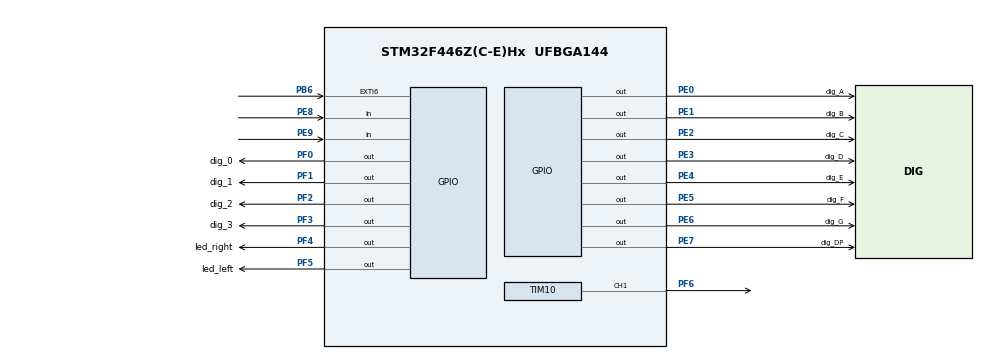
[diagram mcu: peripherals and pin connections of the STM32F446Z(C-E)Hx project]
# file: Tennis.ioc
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Mcu.Family=STM32F4
Mcu.Name=STM32F446Z(C-E)Hx
Mcu.Package=UFBGA144
NVIC.EXTI9_5_IRQn=true\:0\:0\:false\:false\:true\:true\:true
NVIC.PriorityGroup=NVIC_PRIORITYGROUP_4
PB6.Signal=GPXTI6
PE0.GPIO_Label=dig_A
PE0.GPIO_Speed=GPIO_SPEED_FREQ_VERY_HIGH
PE0.PinState=GPIO_PIN_RESET
PE0.Signal=GPIO_Output
PE1.GPIO_Label=dig_B
PE1.GPIO_Speed=GPIO_SPEED_FREQ_VERY_HIGH
PE1.Signal=GPIO_Output
PE2.GPIO_Label=dig_C
PE2.GPIO_Speed=GPIO_SPEED_FREQ_VERY_HIGH
PE2.Signal=GPIO_Output
PE3.GPIO_Label=dig_D
PE3.GPIO_Speed=GPIO_SPEED_FREQ_VERY_HIGH
PE3.Signal=GPIO_Output
PE4.GPIO_Label=dig_E
PE4.GPIO_Speed=GPIO_SPEED_FREQ_VERY_HIGH
PE4.Signal=GPIO_Output
PE5.GPIO_Label=dig_F
PE5.GPIO_Speed=GPIO_SPEED_FREQ_VERY_HIGH
PE5.Signal=GPIO_Output
PE6.GPIO_Label=dig_G
PE6.GPIO_Speed=GPIO_SPEED_FREQ_VERY_HIGH
PE6.Signal=GPIO_Output
PE7.GPIO_Label=dig_DP
PE7.GPIO_Speed=GPIO_SPEED_FREQ_VERY_HIGH
PE7.Signal=GPIO_Output
PE8.Signal=GPIO_Input
PE9.Signal=GPIO_Input
PF0.GPIO_Label=dig_0
PF0.GPIO_Speed=GPIO_SPEED_FREQ_VERY_HIGH
PF0.Signal=GPIO_Output
PF1.GPIO_Label=dig_1
PF1.GPIO_Speed=GPIO_SPEED_FREQ_VERY_HIGH
PF1.Signal=GPIO_Output
PF2.GPIO_Label=dig_2
PF2.GPIO_Speed=GPIO_SPEED_FREQ_VERY_HIGH
PF2.Signal=GPIO_Output
PF3.GPIO_Label=dig_3
PF3.GPIO_Speed=GPIO_SPEED_FREQ_VERY_HIGH
PF3.Signal=GPIO_Output
PF4.GPIO_Label=led_right
PF4.GPIO_Speed=GPIO_SPEED_FREQ_VERY_HIGH
PF4.Signal=GPIO_Output
PF5.GPIO_Label=led_left
PF5.GPIO_Speed=GPIO_SPEED_FREQ_VERY_HIGH
PF5.Signal=GPIO_Output
PF6.Signal=S_TIM10_CH1
PH0-OSC_IN.Mode=HSE-External-Oscillator
PH0-OSC_IN.Signal=RCC_OSC_IN
PH1-OSC_OUT.Mode=HSE-External-Oscillator
PH1-OSC_OUT.Signal=RCC_OSC_OUT
ProjectManager.HeapSize=0x200
ProjectManager.StackSize=0x400
ProjectManager.TargetToolchain=EWARM V8.32
RCC.CortexFreq_Value=16000000
RCC.USBFreq_Value=96000000
RCC.VCOOutputFreq_Value=192000000
SH.S_TIM10_CH1.0=TIM10_CH1,PWM Generation1 CH1
TIM1.Prescaler=15
TIM10.AutoReloadPreload=TIM_AUTORELOAD_PRELOAD_DISABLE
TIM10.Channel=TIM_CHANNEL_1
TIM10.OCMode_PWM=TIM_OCMODE_PWM2
TIM10.Period=199
TIM10.Prescaler=15999
TIM10.Pulse=99
VP_TIM10_VS_ClockSourceINT.Mode=Enable_Timer
VP_TIM10_VS_OPM.Mode=OPM_bit
VP_TIM1_VS_ClockSourceINT.Mode=Internal
board=custom

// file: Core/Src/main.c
/* USER CODE BEGIN Header */
/**
  ******************************************************************************
  * @file           : main.c
  * @brief          : Main program body
  ******************************************************************************
  * @attention
  *
  * <h2><center>&copy; Copyright (c) 2022 STMicroelectronics.
  * All rights reserved.</center></h2>
  *
  * This software component is licensed by ST under BSD 3-Clause license,
  * the "License"; You may not use this file except in compliance with the
  * License. You may obtain a copy of the License at:
  *                        opensource.org/licenses/BSD-3-Clause
  *
  ******************************************************************************
  */
/* USER CODE END Header */
#include "main.h"

/* USER CODE BEGIN PM */
#define dig_0_set()     HAL_GPIO_WritePin(GPIOF, dig_0_Pin, GPIO_PIN_SET)
#define dig_0_reset()   HAL_GPIO_WritePin(GPIOF, dig_0_Pin, GPIO_PIN_RESET)
#define dig_1_set()     HAL_GPIO_WritePin(GPIOF, dig_1_Pin, GPIO_PIN_SET)
#define dig_1_reset()   HAL_GPIO_WritePin(GPIOF, dig_1_Pin, GPIO_PIN_RESET)
#define dig_2_set()     HAL_GPIO_WritePin(GPIOF, dig_2_Pin, GPIO_PIN_SET)
#define dig_2_reset()   HAL_GPIO_WritePin(GPIOF, dig_2_Pin, GPIO_PIN_RESET)
#define dig_3_set()     HAL_GPIO_WritePin(GPIOF, dig_3_Pin, GPIO_PIN_SET)
#define dig_3_reset()   HAL_GPIO_WritePin(GPIOF, dig_3_Pin, GPIO_PIN_RESET)

/* USER CODE END PM */

TIM_HandleTypeDef htim1;
TIM_HandleTypeDef htim10;

/* USER CODE BEGIN PV */
uint8_t tablica[] = {0x3F, 0x06, 0x5B, 0x4F, 0x66, 0x6D, 0x7D, 0x07, 0x7F, 0x6F};
//uint8_t tablica[] = {0x79, 0x31, 0x3F, 0x73, 0x38, 0x3F, 0x76, 0x07, 0x7F, 0x00};
uint32_t counter = 10000;

uint32_t tempCode;
uint8_t bitIndex;
uint8_t cmd;
uint8_t cmdli;
uint32_t code;
uint8_t counter_for_led = 200;
volatile uint8_t tmp_for_right = 0;
volatile uint8_t tmp_for_left = 0;
/* USER CODE END PV */

void SystemClock_Config(void);
static void MX_GPIO_Init(void);
static void MX_TIM10_Init(void);
static void MX_TIM1_Init(void);

/* USER CODE BEGIN PFP */

void set_data(uint32_t);
/* USER CODE END PFP */

int main(void)
{

  /* MCU Configuration--------------------------------------------------------*/

  /* Reset of all peripherals, Initializes the Flash interface and the Systick. */
  HAL_Init();

  /* Configure the system clock */
  SystemClock_Config();

  /* Initialize all configured peripherals */
  MX_GPIO_Init();
  MX_TIM10_Init();
  MX_TIM1_Init();
  /* USER CODE BEGIN 2 */
      HAL_TIM_Base_Start(&htim1);
  __HAL_TIM_SET_COUNTER(&htim1, 0);

    uint8_t but1_short_state = 0;
    uint8_t but1_long_state = 0;
    uint32_t but1_time_key1 = 0;

    uint8_t but2_short_state = 0;
    uint8_t but2_long_state = 0;
    uint32_t but2_time_key1 = 0;

  /* USER CODE END 2 */

  /* Infinite loop */
  /* USER CODE BEGIN WHILE */
  while (1)
  {
    set_data(counter);
    uint32_t but1_ms = HAL_GetTick();
    uint8_t but1_key1_state = !HAL_GPIO_ReadPin(GPIOE, GPIO_PIN_8);
    if (but1_key1_state == 0 && !but1_short_state && (but1_ms - but1_time_key1) > 50)  //right data
    {
        but1_short_state = 1;
        but1_long_state = 0;
        but1_time_key1 = but1_ms;
    }
    else if(but1_key1_state == 0 && !but1_long_state && (but1_ms - but1_time_key1) > 2000)
    {
        but1_long_state = 1;
        if (counter == 10000)
        {
            counter = 0;
            HAL_GPIO_WritePin(GPIOF, led_right_Pin, GPIO_PIN_SET);              //enable RIGHT BIG RED LED
            HAL_GPIO_WritePin(GPIOF, led_left_Pin, GPIO_PIN_RESET);
            counter_for_led = 2;
         }
         if (counter >0)  //move count back
         {
            counter--;
            counter_for_led -=1;
         }
     }
     else if(but1_key1_state == 1 && but1_short_state && (but1_ms - but1_time_key1) > 50)
     {
        but1_short_state = 0;
        but1_time_key1 = but1_ms;
        if(!but1_long_state)
        {
            counter++;
            counter_for_led ++;
            HAL_TIM_PWM_Stop(&htim10, TIM_CHANNEL_1);
            HAL_TIM_PWM_Start(&htim10, TIM_CHANNEL_1);
        }
      }
    uint32_t but2_ms = HAL_GetTick();
    uint8_t but2_key1_state = !HAL_GPIO_ReadPin(GPIOE, GPIO_PIN_9);

    if(but2_key1_state == 0 && !but2_short_state && (but2_ms - but2_time_key1) > 50)  //left data
    {
        but2_short_state = 1;
        but2_long_state = 0;
        but2_time_key1 = but2_ms;
    }
    else if(but2_key1_state == 0 && !but2_long_state && (but2_ms - but2_time_key1) > 2000)
    {
        but2_long_state = 1;
        if (counter == 10000)
        {
          counter = 0;
            HAL_GPIO_WritePin(GPIOF, led_right_Pin, GPIO_PIN_RESET);
            HAL_GPIO_WritePin(GPIOF, led_left_Pin, GPIO_PIN_SET);   //enable LEFT BIG RED LED
            counter_for_led = 0;
        }
        if (counter >0) //move count back
        {
            counter-=100;
             counter_for_led -=1;
        }
    }
    else if(but2_key1_state == 1 && but2_short_state && (but2_ms - but2_time_key1) > 50)
    {
        but2_short_state = 0;
        but2_time_key1 = but2_ms;

        if(!but2_long_state)
        {   if (counter == 10000)
          counter = 0;
            counter+=100;
            counter_for_led ++;
            HAL_TIM_PWM_Stop(&htim10, TIM_CHANNEL_1);
            HAL_TIM_PWM_Start(&htim10, TIM_CHANNEL_1);

        }
    }
    if (counter_for_led < 199)
       {
            if (counter_for_led %4 ==0 || counter_for_led %4 == 1)
            {
                HAL_GPIO_WritePin(GPIOF, led_left_Pin, GPIO_PIN_SET);
                HAL_GPIO_WritePin(GPIOF, led_right_Pin, GPIO_PIN_RESET);
            }
            else
            {
                HAL_GPIO_WritePin(GPIOF, led_left_Pin, GPIO_PIN_RESET);
                HAL_GPIO_WritePin(GPIOF, led_right_Pin, GPIO_PIN_SET);
            }
        }

        /*
    for (volatile uint32_t i =0; i< 300; i++)
    {
      set_data(123);
    }
    for (volatile uint32_t k =0; k< 300; k++)
    {
      set_data(9456);
    }
    */

    /* USER CODE END WHILE */

  }
}

void SystemClock_Config(void)
{
  RCC_OscInitTypeDef RCC_OscInitStruct = {0};
  RCC_ClkInitTypeDef RCC_ClkInitStruct = {0};

  /** Configure the main internal regulator output voltage
  */
  __HAL_RCC_PWR_CLK_ENABLE();
  __HAL_PWR_VOLTAGESCALING_CONFIG(PWR_REGULATOR_VOLTAGE_SCALE3);
  /** Initializes the RCC Oscillators according to the specified parameters
  * in the RCC_OscInitTypeDef structure.
  */
  RCC_OscInitStruct.OscillatorType = RCC_OSCILLATORTYPE_HSI;
  RCC_OscInitStruct.HSIState = RCC_HSI_ON;
  RCC_OscInitStruct.HSICalibrationValue = RCC_HSICALIBRATION_DEFAULT;
  RCC_OscInitStruct.PLL.PLLState = RCC_PLL_NONE;
  if (HAL_RCC_OscConfig(&RCC_OscInitStruct) != HAL_OK)
  {
    Error_Handler();
  }
  /** Initializes the CPU, AHB and APB buses clocks
  */
  RCC_ClkInitStruct.ClockType = RCC_CLOCKTYPE_HCLK|RCC_CLOCKTYPE_SYSCLK
                              |RCC_CLOCKTYPE_PCLK1|RCC_CLOCKTYPE_PCLK2;
  RCC_ClkInitStruct.SYSCLKSource = RCC_SYSCLKSOURCE_HSI;
  RCC_ClkInitStruct.AHBCLKDivider = RCC_SYSCLK_DIV1;
  RCC_ClkInitStruct.APB1CLKDivider = RCC_HCLK_DIV1;
  RCC_ClkInitStruct.APB2CLKDivider = RCC_HCLK_DIV1;

  if (HAL_RCC_ClockConfig(&RCC_ClkInitStruct, FLASH_LATENCY_0) != HAL_OK)
  {
    Error_Handler();
  }
}

static void MX_TIM1_Init(void)
{

  TIM_ClockConfigTypeDef sClockSourceConfig = {0};
  TIM_MasterConfigTypeDef sMasterConfig = {0};

  htim1.Instance = TIM1;
  htim1.Init.Prescaler = 15;
  htim1.Init.CounterMode = TIM_COUNTERMODE_UP;
  htim1.Init.Period = 65535;
  htim1.Init.ClockDivision = TIM_CLOCKDIVISION_DIV1;
  htim1.Init.RepetitionCounter = 0;
  htim1.Init.AutoReloadPreload = TIM_AUTORELOAD_PRELOAD_DISABLE;
  if (HAL_TIM_Base_Init(&htim1) != HAL_OK)
  {
    Error_Handler();
  }
  sClockSourceConfig.ClockSource = TIM_CLOCKSOURCE_INTERNAL;
  if (HAL_TIM_ConfigClockSource(&htim1, &sClockSourceConfig) != HAL_OK)
  {
    Error_Handler();
  }
  sMasterConfig.MasterOutputTrigger = TIM_TRGO_RESET;
  sMasterConfig.MasterSlaveMode = TIM_MASTERSLAVEMODE_DISABLE;
  if (HAL_TIMEx_MasterConfigSynchronization(&htim1, &sMasterConfig) != HAL_OK)
  {
    Error_Handler();
  }

}

static void MX_TIM10_Init(void)
{

  TIM_OC_InitTypeDef sConfigOC = {0};

  htim10.Instance = TIM10;
  htim10.Init.Prescaler = 15999;
  htim10.Init.CounterMode = TIM_COUNTERMODE_UP;
  htim10.Init.Period = 199;
  htim10.Init.ClockDivision = TIM_CLOCKDIVISION_DIV1;
  htim10.Init.AutoReloadPreload = TIM_AUTORELOAD_PRELOAD_DISABLE;
  if (HAL_TIM_Base_Init(&htim10) != HAL_OK)
  {
    Error_Handler();
  }
  if (HAL_TIM_PWM_Init(&htim10) != HAL_OK)
  {
    Error_Handler();
  }
  if (HAL_TIM_OnePulse_Init(&htim10, TIM_OPMODE_SINGLE) != HAL_OK)
  {
    Error_Handler();
  }
  sConfigOC.OCMode = TIM_OCMODE_PWM2;
  sConfigOC.Pulse = 99;
  sConfigOC.OCPolarity = TIM_OCPOLARITY_HIGH;
  sConfigOC.OCFastMode = TIM_OCFAST_DISABLE;
  if (HAL_TIM_PWM_ConfigChannel(&htim10, &sConfigOC, TIM_CHANNEL_1) != HAL_OK)
  {
    Error_Handler();
  }
  HAL_TIM_MspPostInit(&htim10);

}

static void MX_GPIO_Init(void)
{
  GPIO_InitTypeDef GPIO_InitStruct = {0};

  /* GPIO Ports Clock Enable */
  __HAL_RCC_GPIOE_CLK_ENABLE();
  __HAL_RCC_GPIOF_CLK_ENABLE();
  __HAL_RCC_GPIOB_CLK_ENABLE();
  __HAL_RCC_GPIOH_CLK_ENABLE();

  /*Configure GPIO pin Output Level */
  HAL_GPIO_WritePin(GPIOE, dig_D_Pin|dig_C_Pin|dig_B_Pin|dig_A_Pin
                          |dig_E_Pin|dig_F_Pin|dig_G_Pin|dig_DP_Pin, GPIO_PIN_RESET);

  /*Configure GPIO pin Output Level */
  HAL_GPIO_WritePin(GPIOF, dig_0_Pin|dig_1_Pin|dig_2_Pin|dig_3_Pin
                          |led_right_Pin|led_left_Pin, GPIO_PIN_RESET);

  /*Configure GPIO pins : dig_D_Pin dig_C_Pin dig_B_Pin dig_A_Pin
                           dig_E_Pin dig_F_Pin dig_G_Pin dig_DP_Pin */
  GPIO_InitStruct.Pin = dig_D_Pin|dig_C_Pin|dig_B_Pin|dig_A_Pin
                          |dig_E_Pin|dig_F_Pin|dig_G_Pin|dig_DP_Pin;
  GPIO_InitStruct.Mode = GPIO_MODE_OUTPUT_PP;
  GPIO_InitStruct.Pull = GPIO_NOPULL;
  GPIO_InitStruct.Speed = GPIO_SPEED_FREQ_VERY_HIGH;
  HAL_GPIO_Init(GPIOE, &GPIO_InitStruct);

  /*Configure GPIO pins : dig_0_Pin dig_1_Pin dig_2_Pin dig_3_Pin
                           led_right_Pin led_left_Pin */
  GPIO_InitStruct.Pin = dig_0_Pin|dig_1_Pin|dig_2_Pin|dig_3_Pin
                          |led_right_Pin|led_left_Pin;
  GPIO_InitStruct.Mode = GPIO_MODE_OUTPUT_PP;
  GPIO_InitStruct.Pull = GPIO_NOPULL;
  GPIO_InitStruct.Speed = GPIO_SPEED_FREQ_VERY_HIGH;
  HAL_GPIO_Init(GPIOF, &GPIO_InitStruct);

  /*Configure GPIO pin : PB6 */
  GPIO_InitStruct.Pin = GPIO_PIN_6;
  GPIO_InitStruct.Mode = GPIO_MODE_IT_RISING;
  GPIO_InitStruct.Pull = GPIO_NOPULL;
  HAL_GPIO_Init(GPIOB, &GPIO_InitStruct);

  /*Configure GPIO pins : PE9 PE8 */
  GPIO_InitStruct.Pin = GPIO_PIN_9|GPIO_PIN_8;
  GPIO_InitStruct.Mode = GPIO_MODE_INPUT;
  GPIO_InitStruct.Pull = GPIO_NOPULL;
  HAL_GPIO_Init(GPIOE, &GPIO_InitStruct);

  /* EXTI interrupt init*/
  HAL_NVIC_SetPriority(EXTI9_5_IRQn, 0, 0);
  HAL_NVIC_EnableIRQ(EXTI9_5_IRQn);

}

/* USER CODE BEGIN 4 */
void set_data(uint32_t number)
{
  dig_0_reset();
  dig_1_reset();
  dig_2_reset();
  dig_3_reset();

  uint8_t first = number%10;
  number = number/10;
  uint8_t second = number%10;
  number = number/10;
  uint8_t third = number%10;
  number = number/10;
  uint8_t four = number%10;

  dig_3_set();
  GPIOE->ODR |=  tablica[first];
  HAL_Delay(1);
  GPIOE->ODR &= ~tablica[first];
  dig_3_reset();

  dig_2_set();
  GPIOE->ODR |=  tablica[second];
  HAL_Delay(1);
  GPIOE->ODR &= ~tablica[second];
  dig_2_reset();

  dig_1_set();
  GPIOE->ODR |=  tablica[third];
  HAL_Delay(1);
  GPIOE->ODR &= ~tablica[third];
  dig_1_reset();

  dig_0_set();
  GPIOE->ODR |=  tablica[four];
  HAL_Delay(1);
  GPIOE->ODR &= ~tablica[four];
  dig_0_reset();
}

void HAL_GPIO_EXTI_Callback(uint16_t GPIO_Pin)
{
  if(GPIO_Pin == GPIO_PIN_6)
  {
    if (__HAL_TIM_GET_COUNTER(&htim1) > 8000)
    {
      tempCode = 0;
      bitIndex = 0;
    }
    else if (__HAL_TIM_GET_COUNTER(&htim1) > 1700)
    {
      tempCode |= (1UL << (31-bitIndex));   // write 1
      bitIndex++;
    }
    else if (__HAL_TIM_GET_COUNTER(&htim1) > 1000)
    {
      tempCode &= ~(1UL << (31-bitIndex));  // write 0
      bitIndex++;
    }
    if(bitIndex == 32)
    {
      cmdli = ~tempCode; // Logical inverted last 8 bits
      cmd = tempCode >> 8; // Second last 8 bits
      if(cmdli == cmd) // Check for errors
      {
        code = tempCode; // If no bit errors
        // Do your main work HERE
      }

              switch (code)
        {
          case (0x906fa05f): //volume up
            tmp_for_left = 0;
            if(counter == 10000)
                {
                 HAL_GPIO_WritePin(GPIOF, led_right_Pin, GPIO_PIN_RESET);
                 HAL_GPIO_WritePin(GPIOF, led_left_Pin, GPIO_PIN_SET);
                 counter_for_led = 0;
                 tmp_for_left = 1;
                 counter = 0;
                }
            if (tmp_for_left == 0)
            {
                counter+=100;
                counter_for_led ++;
                HAL_TIM_PWM_Stop(&htim10, TIM_CHANNEL_1);
                HAL_TIM_PWM_Start(&htim10, TIM_CHANNEL_1);
            }

            break;

          case (0x906fe01f): //volume down
            counter-=100;
            counter_for_led--;
            HAL_TIM_PWM_Stop(&htim10, TIM_CHANNEL_1);
            HAL_TIM_PWM_Start(&htim10, TIM_CHANNEL_1);
            break;

          case (0x906f807f): //page up
            tmp_for_right = 0;
              if(counter == 10000)
              {
                HAL_GPIO_WritePin(GPIOF, led_left_Pin, GPIO_PIN_RESET);
                HAL_GPIO_WritePin(GPIOF, led_right_Pin, GPIO_PIN_SET);
                counter_for_led = 2;
                tmp_for_right = 1;
                counter = 0;
              }
           if (tmp_for_right == 0)
           {
            counter++;
            counter_for_led ++;
            HAL_TIM_PWM_Stop(&htim10, TIM_CHANNEL_1);
            HAL_TIM_PWM_Start(&htim10, TIM_CHANNEL_1);
           }

            break;

          case (0x906fc03f): // page down
            counter--;
            counter_for_led --;
            HAL_TIM_PWM_Stop(&htim10, TIM_CHANNEL_1);
            HAL_TIM_PWM_Start(&htim10, TIM_CHANNEL_1);
            break;

            case (0x906fe51a): // list BIG LEFT
              if(counter == 0)
              {
                 HAL_GPIO_WritePin(GPIOF, led_right_Pin, GPIO_PIN_RESET);
                 HAL_GPIO_WritePin(GPIOF, led_left_Pin, GPIO_PIN_SET);
                 counter_for_led = 0;
              }
             break;

              case (0x906fac53): // q.view BIG RIGHT
              if(counter == 0)
              {
                HAL_GPIO_WritePin(GPIOF, led_left_Pin, GPIO_PIN_RESET);
                HAL_GPIO_WritePin(GPIOF, led_right_Pin, GPIO_PIN_SET);
                counter_for_led = 2;
              }
              break;

              case (0x906f8877): // Power off 0-0
                HAL_GPIO_WritePin(GPIOF, led_right_Pin, GPIO_PIN_RESET);
                HAL_GPIO_WritePin(GPIOF, led_left_Pin, GPIO_PIN_RESET);
                counter = 10000;
                counter_for_led = 200;
            break;

          default :
          break;
        }

    bitIndex = 0;
    }
  __HAL_TIM_SET_COUNTER(&htim1, 0);
  }
}

/* USER CODE END 4 */

void Error_Handler(void)
{
  __disable_irq();
  while (1)
  {
  }
}

/************************ (C) COPYRIGHT STMicroelectronics *****END OF FILE****/
